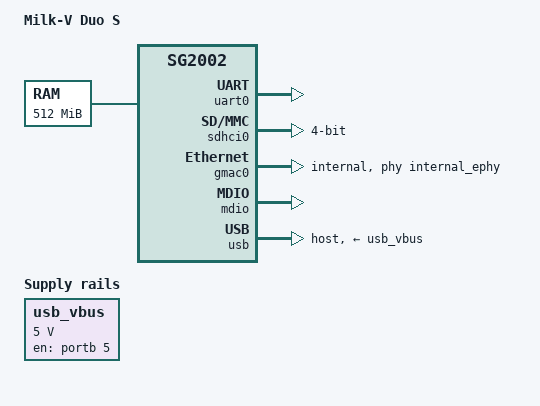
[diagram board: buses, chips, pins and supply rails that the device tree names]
// SPDX-License-Identifier: (GPL-2.0 OR MIT)
/*
 * Device tree for the Milk-V Duo S RISC-V core (Sophgo SG2000, T-Head C906).
 *
 * The SG2000 die is the SG2002 family (cv181x/cv180x) with an added ARM core.
 * From the C906 the SoC is identical to the SG2002. The mainline sg2002.dtsi
 * applies directly.
 *
 * Based on arch/riscv/boot/dts/sophgo/sg2002-licheerv-nano-b.dts.
 *
 * Nodes included (boot-focused):
 *   - uart0: console at ttyS0, 115200n8.
 *   - sdhci0: SD card root (NIXOS_RISCV label), 4-bit bus.
 *   - osc: 25 MHz oscillator (same as LicheeRV Nano).
 *   - memory: overrides the sg2002.dtsi 256MB with 512MB
 *     (0x80000000/0x20000000) to match the firmware memory map.
 *   - Ethernet/gmac0: SG2000 internal EPHY (phy-mode = "internal"). No external
 *     PHY. The dtsi sets phy-handle=<&internal_ephy> and phy-mode="internal";
 *     enable the MAC and MDIO. Mirrors mainline cv1812h-huashan-pi.dts.
 *   - USB: dr_mode = "host" for the USB-A host port. VBUS enable is GPIO portb
 *     pin 5 (USB_VBUS_EN); upstream omits the regulator node.
 *
 * Nodes omitted:
 *   - LEDs, GPIO buttons, camera/CSI: not in the mainline sg2002 dtsi.
 *
 * The CPU (thead,c906, rv64imafdc, sv39) comes from cv180x-cpus.dtsi via
 * sg2002.dtsi.
 */

/dts-v1/;
#include "sg2002.dtsi"
#include <dt-bindings/gpio/gpio.h>
#include <dt-bindings/clock/sophgo,cv1800.h>
#include "sg2000-milkv-duo-s-common.dtsi"

/*
 * Pin IDs and the pin controller.
 *
 * The Duo S carries an SG2000 die, not the SG2002 that sg2002.dtsi assumes.
 * The two packages have different pin tables and are not interchangeable:
 *
 *   pinctrl-sg2002.h   65 QFN pins, flat indices,   no VIVO pads
 *   pinctrl-sg2000.h  110 BGA pins, row/col coords, has VIVO pads
 *
 * For example UART0_TX is 18 on SG2002 but PINPOS('M', 5) on SG2000.
 *
 * SPI3 drives the WS2812 LED ring. The SPI3 pads are VIVO_D5..D8, which the
 * SG2002 table cannot name. Bind the pin controller to the SG2000 driver (see
 * the &pinctrl compatible override below) and give every pinmux an SG2000
 * coordinate. These identifiers match the ARM DTS, so both cores name the pads
 * the same way.
 *
 * Define the pads here rather than include pinctrl-sg2000.h. sg2002.dtsi
 * already includes pinctrl-sg2002.h, and the two headers define the same PIN_*
 * names with different values.
 */
#define PINPOS(row, col)	((((row) - 'A' + 1) << 8) + ((col) - 1))

/* LT8912B control bus pads: pinctrl-sg2000.h BGA IDs, not SG2002 QFN IDs. */
#define DUOS_IIC2_SCL		PINPOS('J', 13)
#define DUOS_IIC2_SDA		PINPOS('J', 14)

#define DUOS_UART0_TX		PINPOS('M', 5)
#define DUOS_UART0_RX		PINPOS('M', 4)

#define DUOS_SD0_CLK		PINPOS('L', 1)
#define DUOS_SD0_CMD		PINPOS('L', 3)
#define DUOS_SD0_D0		PINPOS('L', 2)
#define DUOS_SD0_D1		PINPOS('K', 3)
#define DUOS_SD0_D2		PINPOS('M', 2)
#define DUOS_SD0_D3		PINPOS('M', 1)
#define DUOS_SD0_CD		PINPOS('K', 2)

#define DUOS_SD1_CLK		PINPOS('G', 14)
#define DUOS_SD1_CMD		PINPOS('G', 15)
#define DUOS_SD1_D0		PINPOS('H', 15)
#define DUOS_SD1_D1		PINPOS('H', 14)
#define DUOS_SD1_D2		PINPOS('F', 14)
#define DUOS_SD1_D3		PINPOS('G', 13)

/* SPI3 on the 40-pin header: pin19 MOSI, pin21 MISO, pin23 SCK, pin24 CS */
#define DUOS_VIVO_D5		PINPOS('B', 10)
#define DUOS_VIVO_D6		PINPOS('C', 10)
#define DUOS_VIVO_D7		PINPOS('B', 11)
#define DUOS_VIVO_D8		PINPOS('C', 11)

/* SAO connector IIC1 (SDA/SCL) = pads VIVO_D4 / VIVO_D3 = PORTB 17/18. */
#define DUOS_VIVO_D3		PINPOS('A', 10)
#define DUOS_VIVO_D4		PINPOS('D', 10)

/ {
	model = "Milk-V Duo S";
	compatible = "milkv,duo-s", "sophgo,sg2002";

	aliases {
		serial0 = &uart0;
		/* The SPI core sets bus_num from of_alias_get_id(node, "spi")
		 * and falls back to dynamic numbering when no alias matches
		 * (drivers/spi/spi.c). Without this alias the only enabled
		 * controller takes bus 0 and spidev appears as /dev/spidev0.0. */
		spi3 = &spi3;
	};

	chosen {
		stdout-path = "serial0:115200n8";
	};

	/* Override the sg2002.dtsi 256MB with 512MB to match the firmware memmap. */
	memory@80000000 {
		device_type = "memory";
		reg = <0x80000000 0x20000000>;
	};

	/*
	 * SoC reset for userspace `reboot` (the riscv twin of the ARM DTS's
	 * watchdog node -- same disease, different firmware path).
	 *
	 * The mainline cv18xx dtsi has no watchdog node, so mainline Linux
	 * registers no restart handler for this SoC beyond SBI SRST. OpenSBI's
	 * generic SRST needs a platform reset driver it does not have for
	 * cv18xx/sg2000, so the ecall returns and machine_restart() spins forever
	 * after "reboot: Restarting system" (bench-proven on the polyglot fip
	 * bring-up, 2026-09-02 -- the riscv reboot hung until a button press).
	 *
	 * Fix, as on ARM: expose the DesignWare watchdog. dw_wdt (DW_WATCHDOG=y,
	 * set for both cores in the shared modules/duo-s/base.nix) registers a restart
	 * handler at priority 128 that programs the shortest timeout in RESET
	 * response mode. The vendor FSBL (both slots of the polyglot BL2) writes
	 * RTC_EN_WDT_RST_REQ (0x050260E0) = 1 in early platform init, so the
	 * timeout propagates to a full SoC reset. Node facts (base, size, clock)
	 * as in the ARM DTS: base 0x03010000 from the vendor cv181x_base.dtsi,
	 * CLK_APB_WDT gates the 25 MHz timer clock, `resets` omitted (optional,
	 * already out of reset).
	 */
	soc {
		watchdog@3010000 {
			compatible = "snps,dw-wdt";
			reg = <0x03010000 0x1000>;
			clocks = <&clk CLK_APB_WDT>;
		};
	};

	/*
	 * OpenSBI stays resident in M-mode at 0x80000000 and PMP-protects its
	 * own memory from S-mode. Its boot banner states the regions:
	 *
	 *   Domain0 Region01 : 0x80000000-0x8003ffff M: (F,R,X) S/U: ()
	 *   Domain0 Region00 : 0x80040000-0x8005ffff M: (F,R,W) S/U: ()
	 *
	 * So 0x80000000..0x8005ffff (384 KB) is unreachable from Linux.
	 *
	 * OpenSBI normally patches an mmode_resv node into the device tree it
	 * hands onward. The boot chain is OpenSBI -> U-Boot -> a DTB loaded
	 * fresh from the FAT boot partition, so that fixup never reaches the
	 * DTB that Linux receives. Without this node the kernel treats the
	 * firmware memory as free RAM, hands out the page at 0x80000000, and
	 * faults when it zeroes that page (physical 0x80000000 maps to
	 * PAGE_OFFSET_L3, the base of the sv39 linear map).
	 *
	 * Reserve 512 KB, the 384 KB rounded up, to allow room for an OpenSBI
	 * version bump.
	 */
	reserved-memory {
		#address-cells = <1>;
		#size-cells = <1>;
		ranges;

		mmode_resv0@80000000 {
			reg = <0x80000000 0x80000>;
			no-map;
		};
	};
};

&osc {
	clock-frequency = <25000000>;
};

/* Rebind the pin controller to the SG2000 driver so the VIVO pads exist. The
 * node (pinctrl@3001000) comes from sg2002.dtsi as "sophgo,sg2002-pinctrl".
 * Both drivers use the same register block but a different pin table.
 * CONFIG_PINCTRL_SOPHGO_SG2000 must be enabled in the kernel. */
&pinctrl {
	compatible = "sophgo,sg2000-pinctrl";

	/* IIC2 on J13/J14, primary function 0 (pinctrl-sg2000.c), as on ARM.
	 * VDDIO_RTC, IO_TYPE_1V8_ONLY. Bias and drive stay at their defaults;
	 * the board has external pull-ups. */
	iic2_cfg: iic2-cfg {
		iic2-scl-pins {
			pinmux = <PINMUX(DUOS_IIC2_SCL, 0)>;
			power-source = <1800>;
		};
		iic2-sda-pins {
			pinmux = <PINMUX(DUOS_IIC2_SDA, 0)>;
			power-source = <1800>;
		};
	};

	uart0_cfg: uart0-cfg {
		uart0-pins {
			pinmux = <PINMUX(DUOS_UART0_TX, 0)>,
				 <PINMUX(DUOS_UART0_RX, 0)>;
			bias-pull-up;
			drive-strength-microamp = <10800>;
			power-source = <3300>;
		};
	};

	/* SAO IIC1 for the SSD1306 OLED (see &i2c1 in the common dtsi). VIVO_D4/D3
	 * = PORTB 17/18, IIC1 = pinmux 5 (found empirically on the arm core: mux 5
	 * is the only value where 0x3c ACKs). bias-pull-up enables the pad input
	 * buffer so the controller senses SDA, and parallels the U12 TXS0104E pull. */
	i2c1_cfg: i2c1-cfg {
		i2c1-pins {
			pinmux = <PINMUX(DUOS_VIVO_D4, 5)>, /* SAO SDA, portb 17 */
				 <PINMUX(DUOS_VIVO_D3, 5)>; /* SAO SCL, portb 18 */
			bias-pull-up;
			power-source = <3300>;
		};
	};

	sdhci0_cfg: sdhci0-cfg {
		sdhci0-clk-pins {
			pinmux = <PINMUX(DUOS_SD0_CLK, 0)>;
			bias-pull-up;
			drive-strength-microamp = <16100>;
			power-source = <3300>;
		};

		sdhci0-cmd-pins {
			pinmux = <PINMUX(DUOS_SD0_CMD, 0)>;
			bias-pull-up;
			drive-strength-microamp = <10800>;
			power-source = <3300>;
		};

		sdhci0-data-pins {
			pinmux = <PINMUX(DUOS_SD0_D0, 0)>,
				 <PINMUX(DUOS_SD0_D1, 0)>,
				 <PINMUX(DUOS_SD0_D2, 0)>,
				 <PINMUX(DUOS_SD0_D3, 0)>;
			bias-pull-up;
			drive-strength-microamp = <10800>;
			power-source = <3300>;
		};

		sdhci0-cd-pins {
			pinmux = <PINMUX(DUOS_SD0_CD, 0)>;
			bias-pull-up;
			drive-strength-microamp = <10800>;
			power-source = <3300>;
		};
	};

	/* SPI3 for the WS2812 ring, mux 5 on the VIVO pads. Each subnode needs
	 * power-source: the mainline sophgo pinctrl rejects a pinmux subnode
	 * without it and fails pinctrl_bind_pins before dw_spi_mmio_probe runs. */
	spi3_cfg: spi3-cfg {
		/* Match the arm spi3_cfg exactly: no drive-strength (leave SCK/SDO at
		 * default, suits push-pull), bias-pull-up on SDI and the GPIO-mode CS so
		 * the CS pad does not float between transfers (a floating CS gates
		 * garbage into the WS2812 chain through the U10 AND gate). */
		spi3-sck-pins {
			pinmux = <PINMUX(DUOS_VIVO_D6, 5)>;
			power-source = <3300>;
		};

		spi3-sdo-pins {
			pinmux = <PINMUX(DUOS_VIVO_D8, 5)>;
			power-source = <3300>;
		};

		spi3-sdi-pins {
			pinmux = <PINMUX(DUOS_VIVO_D7, 5)>;
			bias-pull-up;
			power-source = <3300>;
		};

		/* CS is a GPIO here, not SPI3_CS. Mux 3 is XGPIOB_16; mux 5 would be
		 * SPI3_CS. U10 gates LED_DIN with CS through an AND gate and needs CS
		 * active-high, which the native DW CS cannot do. See the cs-gpios comment
		 * on &spi3 (common dtsi). */
		spi3-cs-pins {
			pinmux = <PINMUX(DUOS_VIVO_D5, 3)>;
			bias-pull-up;
			power-source = <3300>;
		};
	};
};

/* SPI3 drives the WS2812 LED ring through spidev. cv180x.dtsi already declares
 * the controller (spi@41b0000) with its clocks, interrupt and RST_SPI3 reset;
 * it is only disabled. Enable it below. */
&spi3 {
	/* Slave DMA via the cv1800b dmamux so the CPU no longer hand-refills the SPI
	 * TX FIFO (PIO underruns when a hardirq preempts the refill mid-frame and the
	 * WS2812 chain glitches under load). Cells: TX req 23, RX req 22; the 2nd
	 * dmamux cell is the CPU (1 = C906 on this riscv core, vs 0 = CA53 on arm).
	 * &dmac must use sophgo,cv1800b-axi-dma (ARG0_AS_CHAN) so of_xlate takes the
	 * mux-allocated channel, not the apb_regs handshake path this SoC lacks.
	 * Everything else (num-cs, cs-gpios, pinctrl, spidev@0, the Sharp display@1,
	 * status) is shared in sg2000-milkv-duo-s-common.dtsi. */
	dmas = <&dmamux 23 1>, <&dmamux 22 1>;
	dma-names = "tx", "rx";
};

/*
 * DMA controller for SPI3 slave DMA (see the &spi3 dmas above). The base
 * cv180x.dtsi gives it the generic snps,axi-dma-1.01a compatible, which lacks
 * ARG0_AS_CHAN, so dw_axi_dma_of_xlate would take the apb_regs handshake path
 * this SoC never wires up ("apb_regs not initialized"). sophgo,cv1800b-axi-dma
 * sets ARG0_AS_CHAN, so of_xlate uses the channel the dmamux allocated. The
 * dmamux (dma-router@154) lives in the always-on top syscon and is already live.
 */
&dmac {
	compatible = "sophgo,cv1800b-axi-dma";
	status = "okay";
};

/*
 * GPIO line names, so gpioinfo reads as a wiring diagram instead of a list of
 * numbers.
 *
 * Names only. This sets no direction, no pull and no pad mux, so it cannot
 * change board behaviour. Every consumer still claims its own line.
 *
 * porta and portb are XGPIOA and XGPIOB. The board also uses a porte
 * (PWR_GPIO, the RTC domain block at 0x05021000) for the USER button and the
 * HDMI I2C pads. Mainline has no such controller node and pinctrl-sg2000.h
 * names only PWR_GPIO0..2, so those lines are not representable here.
 */
&porta {
	gpio-line-names =
		"",                  /* 0  CAM_MCLK0 (pin 12, NC) */
		"hdmi-5v-fault-n",   /* 1  U19 /FAULT */
		"", "", "", "", "", "",
		"", "",
		"",                  /* 10 SD_D1 */
		"", "",
		"sd-cd-n",           /* 13 SD card detect */
		"",
		"wifi-poweron",      /* 15 on-module AIC8800 */
		"",                  /* 16 UART0_TX */
		"",
		"jtag-tck",          /* 18 */
		"jtag-tms",          /* 19 */
		"jtag-trst",         /* 20 */
		"", "", "", "", "", "", "",
		"jtag-tdi",          /* 28 v1A datasheet swaps TDI/TDO */
		"jtag-tdo",          /* 29 */
		"usb-5v-fault-n",    /* 30 U5 /FAULT */
		"";
};

&portb {
	gpio-line-names =
		"pwm0-buck",         /* 0 */
		"adc3-j6",           /* 1  SARADC ch3 */
		"adc-vbat",          /* 2  SARADC ch2 */
		"adc-vsel",          /* 3  SARADC ch1 */
		"btn-boot-n",        /* 4  S1, also the ROM recovery strap */
		"usb-host-vbus-en",  /* 5  wired-AND with SERIAL_VBUS */
		"usb-vbus-det",      /* 6 */
		"", "", "", "",
		"core-sel-latch-clk",/* 11 U2 74AUP1G175 CP */
		"core-sel-latch-d",  /* 12 1=ARM, 0=RISC-V on next boot */
		"",                  /* 13 SPI3_SDO, LED chain via U10 */
		"",                  /* 14 SPI3_SDI */
		"",                  /* 15 SPI3_SCK */
		"",                  /* 16 SPI3_CS, gates LED_DIN via U10 */
		"sao-sda",           /* 17 IIC1 through U12 TXS0104E */
		"sao-scl",           /* 18 IIC1 */
		"sao-gpio2",         /* 19 */
		"sao-fault-n",       /* 20 U13 /FAULT */
		"sao-power-en",      /* 21 U13 EN + U12 OE */
		"sd-fault-n",        /* 22 U8 /FAULT */
		"core-sel-strap",    /* 23 readback: 1=RISC-V, 0=ARM */
		"", "", "", "", "", "", "", "";
};

/* Console UART */
&uart0 {
	pinctrl-0 = <&uart0_cfg>;
	pinctrl-names = "default";
	status = "okay";
};

/* SD card (rootfs on NIXOS_RISCV label) */
&sdhci0 {
	pinctrl-0 = <&sdhci0_cfg>;
	pinctrl-names = "default";
	bus-width = <4>;
	no-1-8-v;
	no-mmc;
	no-sdio;
	disable-wp;
	status = "okay";
};

/* On-chip 10/100 Ethernet: SG2000 internal EPHY to the RJ45 magnetics, no
 * external PHY. Set phy-mode = "internal" with the internal EPHY handle and
 * enable the MAC and MDIO. Mirrors mainline cv1812h-huashan-pi.dts.
 * Note: mainline 7.0.x has no driver to power or init the internal EPHY, so
 * eth0 registers but does not link until the EPHY is initialized (in U-Boot or
 * a kernel driver). The DT is ready for that. */
&gmac0 {
	status = "okay";
	phy-mode = "internal";
	phy-handle = <&internal_ephy>;
};

&mdio {
	status = "okay";
};

/*
 * USB: SG2002/SG2000 DWC2 OTG core driving the USB-A host port.
 * dr_mode = "host" for the USB-A host port. USB_VBUS_EN = GPIO portb pin 5
 * gates VBUS, modelled as a fixed regulator so the port powers bus-powered
 * devices.
 */
/ {
	usb_vbus: regulator-usb-vbus {
		compatible = "regulator-fixed";
		regulator-name = "usb-vbus";
		regulator-min-microvolt = <5000000>;
		regulator-max-microvolt = <5000000>;
		gpio = <&portb 5 GPIO_ACTIVE_HIGH>;
		enable-active-high;
		regulator-boot-on;
	};
};

&usb {
	dr_mode = "host";
	vbus-supply = <&usb_vbus>;
	status = "okay";
};

/*
 * WiFi SDIO bus pads. The mmc@4320000 controller uses the SD1 pads
 * (DUOS_SD1_*, mux 0 = SDIO1, same scheme as the SD0 pads for the card).
 * Without this mux the pads stay on their default function and the AIC8800
 * never answers the SDIO probe.
 */
&pinctrl {
	sdhci1_cfg: sdhci1-cfg {
		/* 1.8V pads. The AIC8800 VIO is fixed 1.8V; cv18xx-vsw drives the rail. */
		sdhci1-clk-pins {
			pinmux = <PINMUX(DUOS_SD1_CLK, 0)>;
			bias-pull-up;
			drive-strength-microamp = <16100>;
			power-source = <1800>;
		};

		sdhci1-cmd-pins {
			pinmux = <PINMUX(DUOS_SD1_CMD, 0)>;
			bias-pull-up;
			drive-strength-microamp = <10800>;
			power-source = <1800>;
		};

		sdhci1-data-pins {
			pinmux = <PINMUX(DUOS_SD1_D0, 0)>,
				 <PINMUX(DUOS_SD1_D1, 0)>,
				 <PINMUX(DUOS_SD1_D2, 0)>,
				 <PINMUX(DUOS_SD1_D3, 0)>;
			bias-pull-up;
			drive-strength-microamp = <10800>;
			power-source = <1800>;
		};
	};
};
